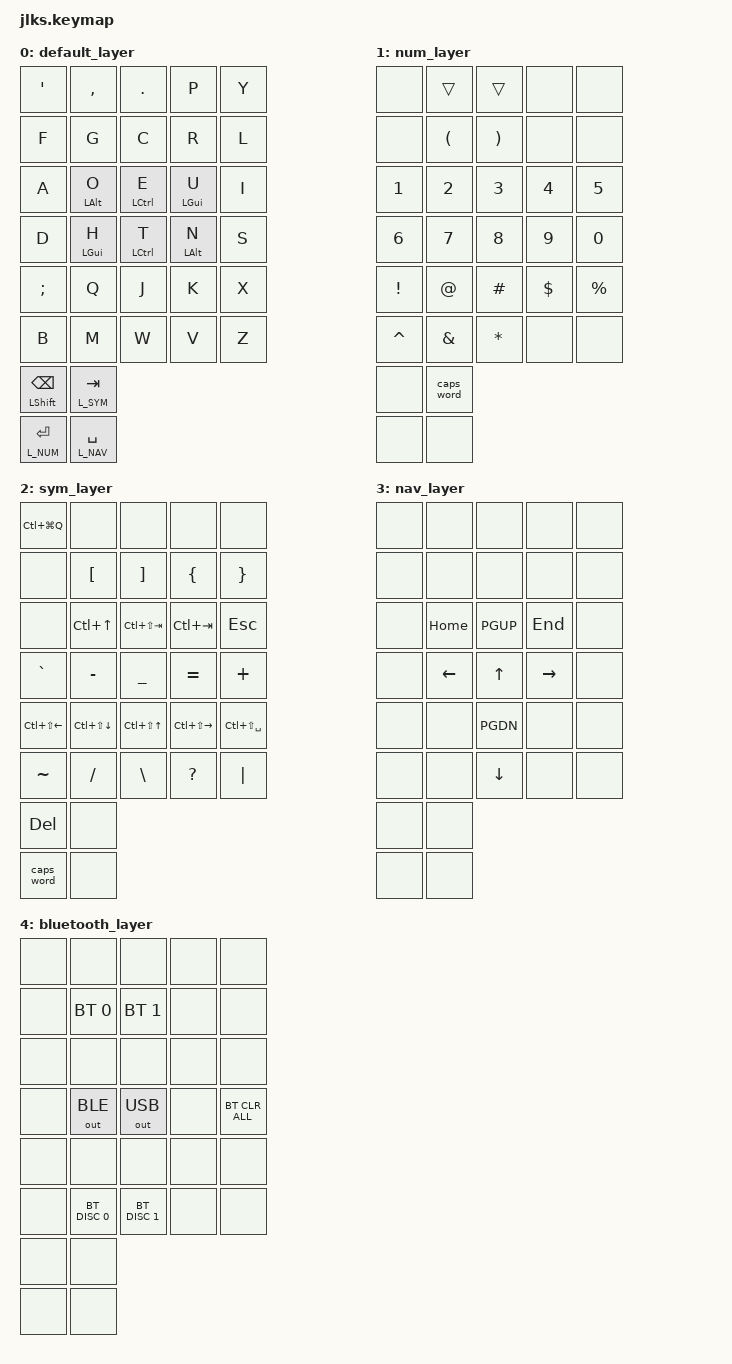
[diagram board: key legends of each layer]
#include <behaviors.dtsi>
#include <dt-bindings/zmk/bt.h>
#include <dt-bindings/zmk/keys.h>
#include <dt-bindings/zmk/outputs.h>

#define L_DEFAULT 0
#define L_NUM     1
#define L_SYM     2
#define L_NAV     3
#define L_BT      4

//------------------------------------------------------------------------------
// Defaults
//------------------------------------------------------------------------------

&lt {
  tapping-term-ms = <150>;
  flavor = "hold-preferred";
  quick-tap-ms = <300>;
};

&mt {
  quick-tap-ms = <300>;
};

/ {

//------------------------------------------------------------------------------
// Behaviors
//------------------------------------------------------------------------------

  behaviors {

    mtb: balanced_mod_tap {
      compatible = "zmk,behavior-hold-tap";
      #binding-cells = <2>;
      flavor = "balanced";
      tapping-term-ms = <250>;
      quick-tap-ms = <300>;
      require-prior-idle-ms = <125>;
      bindings = <&kp>, <&kp>;
      display-name = "Balanced-Mod-Tap";
    };

    ltb: balanced_layer_tap {
      compatible = "zmk,behavior-hold-tap";
      #binding-cells = <2>;
      flavor = "balanced";
      tapping-term-ms = <250>;
      quick-tap-ms = <300>;
      require-prior-idle-ms = <250>;
      bindings = <&mo>, <&kp>;
      display-name = "Balanced-Layer-Tap";
    };

  };

  //----------------------------------------------------------------------------
  // Combos
  //----------------------------------------------------------------------------

  combos {
    compatible = "zmk,combos";

    combo_bootloader_l {
      key-positions = <0 1 2 3>;
      bindings = <&bootloader>;
    };

    combo_bootloader_r {
      key-positions = <6 7 8 9>;
      bindings = <&bootloader>;
    };

    combo_escape {
      timeout-ms = <100>;
      key-positions = <1 2>;
      bindings = <&kp ESC>;
    };

    combo_bt_layer {
      key-positions = <30 33>;
      bindings = <&mo L_BT>;
    };
  };


  //----------------------------------------------------------------------------
  // Keymap
  //----------------------------------------------------------------------------

  keymap {
    compatible = "zmk,keymap";

    default_layer {
      bindings = <
        &kp SQT &kp COMMA &kp DOT &kp P &kp Y
        &kp F &kp G &kp C &kp R &kp L

        &kp A &mtb LALT O &mtb LCTRL E &mtb LGUI U &kp I
        &kp D &mtb LGUI H &mtb LCTRL T &mtb LALT N &kp S

        &kp SEMI &kp Q &kp J &kp K &kp X
        &kp B &kp M &kp W &kp V &kp Z

        &mt LSHIFT BSPC &lt L_SYM TAB
        &lt L_NUM ENTER &ltb L_NAV SPACE
      >;
    };

    num_layer {
      bindings = <
        &none &trans &trans &none &none
        &none &kp LPAR &kp RPAR &none &none

        &kp N1 &kp N2 &kp N3 &kp N4 &kp N5
        &kp N6 &kp N7 &kp N8 &kp N9 &kp N0

        &kp EXCL &kp AT &kp HASH &kp DLLR &kp PRCNT
        &kp CARET &kp AMPS &kp STAR &none &none

        &none &caps_word
        &none &none
      >;
    };

    sym_layer {
      bindings = <
        &kp LC(LG(Q)) &none &none &none &none
        &none &kp LBKT &kp RBKT &kp LBRC &kp RBRC

        &none &kp LC(UP) &kp LC(LS(TAB)) &kp LC(TAB) &kp ESC
        &kp GRAVE &kp MINUS &kp UNDER &kp EQUAL &kp PLUS

        &kp LC(LS(LEFT)) &kp LC(LS(DOWN)) &kp LC(LS(UP)) &kp LC(LS(RIGHT)) &kp LC(LS(SPACE))
        &kp TILDE &kp FSLH &kp BSLH &kp QMARK &kp PIPE

        &kp DEL &none
        &caps_word &none
      >;
    };

    nav_layer {
      bindings = <
        &none &none &none &none &none
        &none &none &none &none &none

        &none &kp HOME &kp PGUP &kp END &none
        &none &kp LEFT &kp UP &kp RIGHT &none

        &none &none &kp PGDN &none &none
        &none &none &kp DOWN &none &none

        &none &none
        &none &none
      >;
    };

    bluetooth_layer {
      bindings = <
        &none &none &none &none &none
        &none &bt BT_SEL 0 &bt BT_SEL 1 &none &none

        &none &none &none &none &none
        &none &out OUT_BLE &out OUT_USB &none &bt BT_CLR_ALL

        &none &none &none &none &none
        &none &bt BT_DISC 0 &bt BT_DISC 1 &none &none

        &none &none
        &none &none
      >;
    };

  };
};
